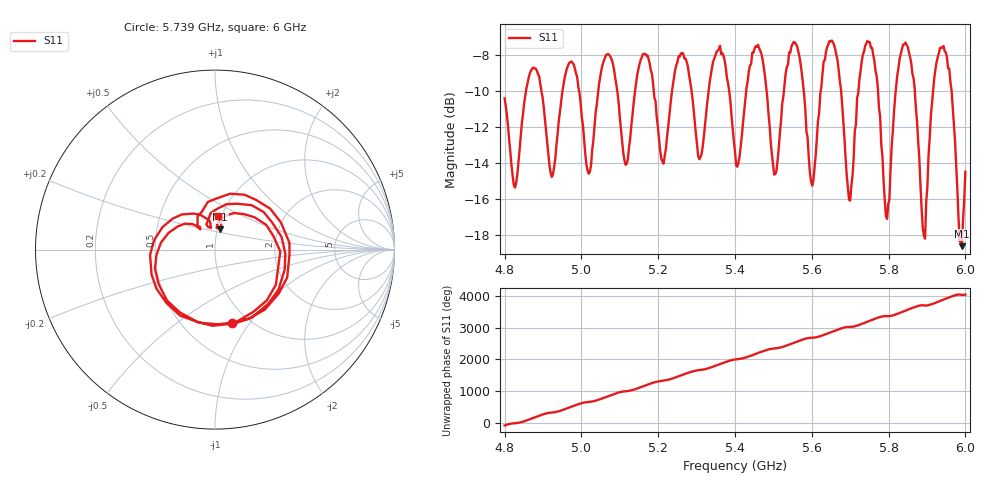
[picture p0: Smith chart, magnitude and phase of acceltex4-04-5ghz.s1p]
! NanoVNA-App
! Date: 2026-05-22 20:00:23
! Start: 4.8GHz Stop: 6GHz Points: 401
! S-Parameter data: F S11
# Hz S RI R 50
!  Frequency  S11_Real  S11_Imag
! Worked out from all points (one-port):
!   401 points, 4.8 GHz to 6 GHz, reference 50 ohm
!   lowest |S11| = -18.6 dB at 5.991 GHz (marker M1), VSWR 1.27, Z = 51.6 + j11.9 ohm
!   |S11| at or under -10 dB: start of sweep to 4.856 GHz; 4.896 GHz to 4.951 GHz (55.15 MHz wide, 1.12 % of centre); 4.994 GHz to 5.044 GHz (50.17 MHz wide, 1 % of centre) (the widest 3 of 13)
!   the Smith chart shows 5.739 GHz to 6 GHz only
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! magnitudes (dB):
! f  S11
! 4.8 GHz  -10.4
! 4.827 GHz  -15.4
! 4.869 GHz  -8.9
! 4.923 GHz  -14.8
! 4.95 GHz  -10.1
! 4.983 GHz  -8.8
! 5.019 GHz  -14.6
! 5.064 GHz  -8.0
! 5.1 GHz  -11.5
! 5.169 GHz  -8.0
! 5.214 GHz  -14.0
! 5.25 GHz  -8.4
! 5.31 GHz  -13.7
! 5.364 GHz  -8.0
! 5.4 GHz  -13.4
! 5.46 GHz  -7.4
! 5.505 GHz  -14.6
! 5.55 GHz  -7.4
! 5.601 GHz  -15.3
! 5.658 GHz  -7.5
! 5.7 GHz  -16.1
! 5.748 GHz  -7.3
! 5.796 GHz  -17.1
! 5.85 GHz  -7.6
! 5.892 GHz  -18.1
! 5.946 GHz  -7.8
! 5.991 GHz  -18.6
! 6 GHz  -14.5
